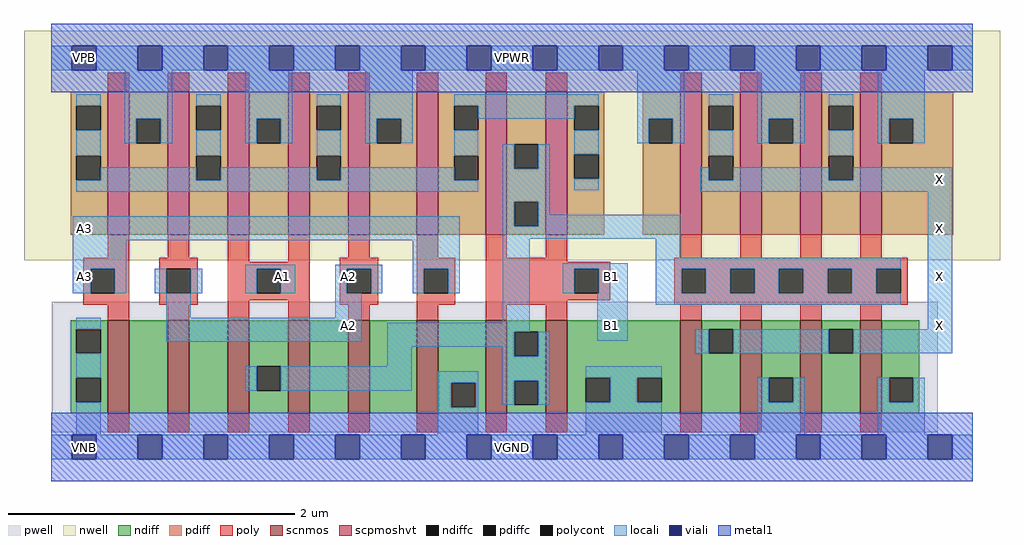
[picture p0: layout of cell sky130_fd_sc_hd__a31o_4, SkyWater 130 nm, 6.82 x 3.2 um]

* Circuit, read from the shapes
.subckt sky130_fd_sc_hd__a31o_4 A1 A2 A3 B1 VGND VNB VPB VPWR X
XM1 n1 A3 VGND VNB sky130_fd_pr__nfet_01v8 w=0.65 l=0.15
XM2 n2 A2 n1 VNB sky130_fd_pr__nfet_01v8 w=0.65 l=0.15
XM3 n3 A1 n2 VNB sky130_fd_pr__nfet_01v8 w=0.65 l=0.15
XM4 n4 A1 n3 VNB sky130_fd_pr__nfet_01v8 w=0.65 l=0.15
XM5 n5 A2 n4 VNB sky130_fd_pr__nfet_01v8 w=0.65 l=0.15
XM6 VGND A3 n5 VNB sky130_fd_pr__nfet_01v8 w=0.65 l=0.15
XM7 n3 B1 VGND VNB sky130_fd_pr__nfet_01v8 w=0.65 l=0.15 m=2
XM8 X n3 VGND VNB sky130_fd_pr__nfet_01v8 w=0.65 l=0.15 m=4
XM9 VPWR A3 n6 VPB sky130_fd_pr__pfet_01v8_hvt w=1 l=0.15 m=2
XM10 n6 A2 VPWR VPB sky130_fd_pr__pfet_01v8_hvt w=1 l=0.15 m=2
XM11 VPWR A1 n6 VPB sky130_fd_pr__pfet_01v8_hvt w=1 l=0.15 m=2
XM12 n3 B1 n6 VPB sky130_fd_pr__pfet_01v8_hvt w=1 l=0.15 m=2
XM13 X n3 VPWR VPB sky130_fd_pr__pfet_01v8_hvt w=1 l=0.15 m=4
.ends

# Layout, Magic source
magic
tech sky130B
magscale 1 2
<< nwell >>
rect -38 261 1326 582
<< pwell >>
rect 1 21 1239 203
rect 30 -17 64 21
<< scnmos >>
rect 79 47 109 177
rect 163 47 193 177
rect 247 47 277 177
rect 331 47 361 177
rect 415 47 445 177
rect 511 47 541 177
rect 607 47 637 177
rect 691 47 721 177
rect 879 47 909 177
rect 963 47 993 177
rect 1047 47 1077 177
rect 1131 47 1161 177
<< scpmoshvt >>
rect 79 297 109 497
rect 163 297 193 497
rect 247 297 277 497
rect 331 297 361 497
rect 415 297 445 497
rect 511 297 541 497
rect 607 297 637 497
rect 691 297 721 497
rect 879 297 909 497
rect 963 297 993 497
rect 1047 297 1077 497
rect 1131 297 1161 497
<< ndiff >>
rect 27 165 79 177
rect 27 131 35 165
rect 69 131 79 165
rect 27 97 79 131
rect 27 63 35 97
rect 69 63 79 97
rect 27 47 79 63
rect 109 47 163 177
rect 193 47 247 177
rect 277 113 331 177
rect 277 79 287 113
rect 321 79 331 113
rect 277 47 331 79
rect 361 47 415 177
rect 445 47 511 177
rect 541 90 607 177
rect 541 56 559 90
rect 593 56 607 90
rect 541 47 607 56
rect 637 161 691 177
rect 637 127 647 161
rect 681 127 691 161
rect 637 93 691 127
rect 637 59 647 93
rect 681 59 691 93
rect 637 47 691 59
rect 721 97 879 177
rect 721 63 747 97
rect 781 63 819 97
rect 853 63 879 97
rect 721 47 879 63
rect 909 165 963 177
rect 909 131 919 165
rect 953 131 963 165
rect 909 47 963 131
rect 993 97 1047 177
rect 993 63 1003 97
rect 1037 63 1047 97
rect 993 47 1047 63
rect 1077 165 1131 177
rect 1077 131 1087 165
rect 1121 131 1131 165
rect 1077 47 1131 131
rect 1161 97 1213 177
rect 1161 63 1171 97
rect 1205 63 1213 97
rect 1161 47 1213 63
<< pdiff >>
rect 27 477 79 497
rect 27 443 35 477
rect 69 443 79 477
rect 27 407 79 443
rect 27 373 35 407
rect 69 373 79 407
rect 27 297 79 373
rect 109 459 163 497
rect 109 425 119 459
rect 153 425 163 459
rect 109 297 163 425
rect 193 477 247 497
rect 193 443 203 477
rect 237 443 247 477
rect 193 407 247 443
rect 193 373 203 407
rect 237 373 247 407
rect 193 297 247 373
rect 277 459 331 497
rect 277 425 287 459
rect 321 425 331 459
rect 277 297 331 425
rect 361 477 415 497
rect 361 443 371 477
rect 405 443 415 477
rect 361 407 415 443
rect 361 373 371 407
rect 405 373 415 407
rect 361 297 415 373
rect 445 459 511 497
rect 445 425 455 459
rect 489 425 511 459
rect 445 297 511 425
rect 541 477 607 497
rect 541 443 563 477
rect 597 443 607 477
rect 541 407 607 443
rect 541 373 563 407
rect 597 373 607 407
rect 541 297 607 373
rect 637 423 691 497
rect 637 389 647 423
rect 681 389 691 423
rect 637 343 691 389
rect 637 309 647 343
rect 681 309 691 343
rect 637 297 691 309
rect 721 477 773 497
rect 721 443 731 477
rect 765 443 773 477
rect 721 409 773 443
rect 721 375 731 409
rect 765 375 773 409
rect 721 297 773 375
rect 827 459 879 497
rect 827 425 835 459
rect 869 425 879 459
rect 827 297 879 425
rect 909 477 963 497
rect 909 443 919 477
rect 953 443 963 477
rect 909 407 963 443
rect 909 373 919 407
rect 953 373 963 407
rect 909 297 963 373
rect 993 459 1047 497
rect 993 425 1003 459
rect 1037 425 1047 459
rect 993 297 1047 425
rect 1077 477 1131 497
rect 1077 443 1087 477
rect 1121 443 1131 477
rect 1077 407 1131 443
rect 1077 373 1087 407
rect 1121 373 1131 407
rect 1077 297 1131 373
rect 1161 459 1261 497
rect 1161 425 1171 459
rect 1205 425 1261 459
rect 1161 297 1261 425
<< ndiffc >>
rect 35 131 69 165
rect 35 63 69 97
rect 287 79 321 113
rect 559 56 593 90
rect 647 127 681 161
rect 647 59 681 93
rect 747 63 781 97
rect 819 63 853 97
rect 919 131 953 165
rect 1003 63 1037 97
rect 1087 131 1121 165
rect 1171 63 1205 97
<< pdiffc >>
rect 35 443 69 477
rect 35 373 69 407
rect 119 425 153 459
rect 203 443 237 477
rect 203 373 237 407
rect 287 425 321 459
rect 371 443 405 477
rect 371 373 405 407
rect 455 425 489 459
rect 563 443 597 477
rect 563 373 597 407
rect 647 389 681 423
rect 647 309 681 343
rect 731 443 765 477
rect 731 375 765 409
rect 835 425 869 459
rect 919 443 953 477
rect 919 373 953 407
rect 1003 425 1037 459
rect 1087 443 1121 477
rect 1087 373 1121 407
rect 1171 425 1205 459
<< poly >>
rect 79 497 109 523
rect 163 497 193 523
rect 247 497 277 523
rect 331 497 361 523
rect 415 497 445 523
rect 511 497 541 523
rect 607 497 637 523
rect 691 497 721 523
rect 879 497 909 523
rect 963 497 993 523
rect 1047 497 1077 523
rect 1131 497 1161 523
rect 79 265 109 297
rect 163 265 193 297
rect 45 249 109 265
rect 45 215 55 249
rect 89 215 109 249
rect 45 199 109 215
rect 151 249 205 265
rect 151 215 161 249
rect 195 215 205 249
rect 151 199 205 215
rect 247 259 277 297
rect 331 259 361 297
rect 415 265 445 297
rect 511 265 541 297
rect 607 265 637 297
rect 691 265 721 297
rect 879 265 909 297
rect 963 265 993 297
rect 1047 265 1077 297
rect 1131 265 1161 297
rect 247 249 361 259
rect 247 215 287 249
rect 321 215 361 249
rect 247 205 361 215
rect 79 177 109 199
rect 163 177 193 199
rect 247 177 277 205
rect 331 177 361 205
rect 403 249 457 265
rect 403 215 413 249
rect 447 215 457 249
rect 403 199 457 215
rect 511 249 565 265
rect 511 215 521 249
rect 555 215 565 249
rect 511 199 565 215
rect 607 259 721 265
rect 607 249 781 259
rect 607 215 731 249
rect 765 215 781 249
rect 607 205 781 215
rect 871 249 1197 265
rect 871 215 881 249
rect 915 215 949 249
rect 983 215 1017 249
rect 1051 215 1085 249
rect 1119 215 1153 249
rect 1187 215 1197 249
rect 607 199 721 205
rect 871 199 1197 215
rect 415 177 445 199
rect 511 177 541 199
rect 607 177 637 199
rect 691 177 721 199
rect 879 177 909 199
rect 963 177 993 199
rect 1047 177 1077 199
rect 1131 177 1161 199
rect 79 21 109 47
rect 163 21 193 47
rect 247 21 277 47
rect 331 21 361 47
rect 415 21 445 47
rect 511 21 541 47
rect 607 21 637 47
rect 691 21 721 47
rect 879 21 909 47
rect 963 21 993 47
rect 1047 21 1077 47
rect 1131 21 1161 47
<< polycont >>
rect 55 215 89 249
rect 161 215 195 249
rect 287 215 321 249
rect 413 215 447 249
rect 521 215 555 249
rect 731 215 765 249
rect 881 215 915 249
rect 949 215 983 249
rect 1017 215 1051 249
rect 1085 215 1119 249
rect 1153 215 1187 249
<< locali >>
rect 0 527 29 561
rect 63 527 121 561
rect 155 527 213 561
rect 247 527 305 561
rect 339 527 397 561
rect 431 527 489 561
rect 523 527 581 561
rect 615 527 673 561
rect 707 527 765 561
rect 799 527 857 561
rect 891 527 949 561
rect 983 527 1041 561
rect 1075 527 1133 561
rect 1167 527 1225 561
rect 1259 527 1288 561
rect 35 477 69 493
rect 35 407 69 443
rect 103 459 169 527
rect 103 425 119 459
rect 153 425 169 459
rect 203 477 237 493
rect 203 407 237 443
rect 271 459 337 527
rect 271 425 287 459
rect 321 425 337 459
rect 371 477 405 493
rect 69 373 203 391
rect 371 407 405 443
rect 439 459 505 527
rect 439 425 455 459
rect 489 425 505 459
rect 563 477 765 493
rect 597 459 731 477
rect 237 373 371 391
rect 563 407 597 443
rect 405 373 563 391
rect 35 357 597 373
rect 631 389 647 423
rect 681 389 697 423
rect 631 343 697 389
rect 731 409 765 443
rect 819 459 885 527
rect 819 425 835 459
rect 869 425 885 459
rect 919 477 953 493
rect 919 407 953 443
rect 987 459 1053 527
rect 987 425 1003 459
rect 1037 425 1053 459
rect 1087 477 1121 493
rect 731 359 765 375
rect 907 373 919 391
rect 1087 407 1121 443
rect 1155 459 1221 527
rect 1155 425 1171 459
rect 1205 425 1221 459
rect 953 373 1087 391
rect 1121 373 1259 391
rect 907 357 1259 373
rect 30 289 571 323
rect 30 249 105 289
rect 271 249 341 255
rect 30 215 55 249
rect 89 215 105 249
rect 145 215 161 249
rect 195 215 211 249
rect 271 215 287 249
rect 321 215 341 249
rect 397 249 463 255
rect 397 215 413 249
rect 447 215 463 249
rect 505 249 571 289
rect 505 215 521 249
rect 555 215 571 249
rect 631 309 647 343
rect 681 325 697 343
rect 681 309 879 325
rect 631 291 879 309
rect 161 181 195 215
rect 397 181 434 215
rect 35 165 69 181
rect 161 147 434 181
rect 631 174 669 291
rect 845 265 879 291
rect 715 249 806 257
rect 715 215 731 249
rect 765 215 806 249
rect 470 161 669 174
rect 35 97 69 131
rect 470 140 647 161
rect 470 113 504 140
rect 271 79 287 113
rect 321 79 504 113
rect 631 127 647 140
rect 681 127 697 161
rect 763 149 806 215
rect 845 249 1187 265
rect 845 215 881 249
rect 915 215 949 249
rect 983 215 1017 249
rect 1051 215 1085 249
rect 1119 215 1153 249
rect 845 199 1187 215
rect 1225 165 1259 357
rect 901 131 919 165
rect 953 131 1087 165
rect 1121 131 1259 165
rect 540 90 597 106
rect 35 17 69 63
rect 540 56 559 90
rect 593 56 597 90
rect 631 93 697 127
rect 631 59 647 93
rect 681 59 697 93
rect 747 97 853 113
rect 781 63 819 97
rect 540 17 597 56
rect 747 17 853 63
rect 987 63 1003 97
rect 1037 63 1053 97
rect 987 17 1053 63
rect 1155 63 1171 97
rect 1205 63 1221 97
rect 1155 17 1221 63
rect 0 -17 29 17
rect 63 -17 121 17
rect 155 -17 213 17
rect 247 -17 305 17
rect 339 -17 397 17
rect 431 -17 489 17
rect 523 -17 581 17
rect 615 -17 673 17
rect 707 -17 765 17
rect 799 -17 857 17
rect 891 -17 949 17
rect 983 -17 1041 17
rect 1075 -17 1133 17
rect 1167 -17 1225 17
rect 1259 -17 1288 17
<< viali >>
rect 29 527 63 561
rect 121 527 155 561
rect 213 527 247 561
rect 305 527 339 561
rect 397 527 431 561
rect 489 527 523 561
rect 581 527 615 561
rect 673 527 707 561
rect 765 527 799 561
rect 857 527 891 561
rect 949 527 983 561
rect 1041 527 1075 561
rect 1133 527 1167 561
rect 1225 527 1259 561
rect 29 -17 63 17
rect 121 -17 155 17
rect 213 -17 247 17
rect 305 -17 339 17
rect 397 -17 431 17
rect 489 -17 523 17
rect 581 -17 615 17
rect 673 -17 707 17
rect 765 -17 799 17
rect 857 -17 891 17
rect 949 -17 983 17
rect 1041 -17 1075 17
rect 1133 -17 1167 17
rect 1225 -17 1259 17
<< metal1 >>
rect 0 561 1288 592
rect 0 527 29 561
rect 63 527 121 561
rect 155 527 213 561
rect 247 527 305 561
rect 339 527 397 561
rect 431 527 489 561
rect 523 527 581 561
rect 615 527 673 561
rect 707 527 765 561
rect 799 527 857 561
rect 891 527 949 561
rect 983 527 1041 561
rect 1075 527 1133 561
rect 1167 527 1225 561
rect 1259 527 1288 561
rect 0 496 1288 527
rect 0 17 1288 48
rect 0 -17 29 17
rect 63 -17 121 17
rect 155 -17 213 17
rect 247 -17 305 17
rect 339 -17 397 17
rect 431 -17 489 17
rect 523 -17 581 17
rect 615 -17 673 17
rect 707 -17 765 17
rect 799 -17 857 17
rect 891 -17 949 17
rect 983 -17 1041 17
rect 1075 -17 1133 17
rect 1167 -17 1225 17
rect 1259 -17 1288 17
rect 0 -48 1288 -17
<< labels >>
flabel locali s 766 153 800 187 0 FreeSans 200 0 0 0 B1
port 4 nsew signal input
flabel locali s 398 153 432 187 0 FreeSans 200 0 0 0 A2
port 2 nsew signal input
flabel locali s 30 289 64 323 0 FreeSans 200 0 0 0 A3
port 3 nsew signal input
flabel locali s 306 221 340 255 0 FreeSans 200 0 0 0 A1
port 1 nsew signal input
flabel locali s 30 221 64 255 0 FreeSans 200 0 0 0 A3
port 3 nsew signal input
flabel locali s 766 221 800 255 0 FreeSans 200 0 0 0 B1
port 4 nsew signal input
flabel locali s 1225 221 1259 255 0 FreeSans 200 0 0 0 X
port 9 nsew signal output
flabel locali s 1225 153 1259 187 0 FreeSans 200 0 0 0 X
port 9 nsew signal output
flabel locali s 1225 357 1259 391 0 FreeSans 200 0 0 0 X
port 9 nsew signal output
flabel locali s 398 221 432 255 0 FreeSans 200 0 0 0 A2
port 2 nsew signal input
flabel locali s 1225 289 1259 323 0 FreeSans 200 0 0 0 X
port 9 nsew signal output
flabel pwell s 30 -17 64 17 0 FreeSans 200 0 0 0 VNB
port 6 nsew ground bidirectional
flabel nwell s 30 527 64 561 0 FreeSans 200 0 0 0 VPB
port 7 nsew power bidirectional
flabel metal1 s 30 -17 64 17 0 FreeSans 200 0 0 0 VGND
port 5 nsew ground bidirectional abutment
flabel metal1 s 30 527 64 561 0 FreeSans 200 0 0 0 VPWR
port 8 nsew power bidirectional abutment
rlabel comment s 0 0 0 0 4 a31o_4
rlabel metal1 s 0 -48 1288 48 1 VGND
port 5 nsew ground bidirectional abutment
rlabel metal1 s 0 496 1288 592 1 VPWR
port 8 nsew power bidirectional abutment
<< properties >>
string FIXED_BBOX 0 0 1288 544
string GDS_END 4122064
string GDS_FILE $PDKPATH/libs.ref/sky130_fd_sc_hd/gds/sky130_fd_sc_hd.gds
string GDS_START 4112202
string LEFclass CORE
string LEFsite unithd
string LEFsymmetry X Y R90
string path 0.000 0.000 32.200 0.000 
<< end >>
